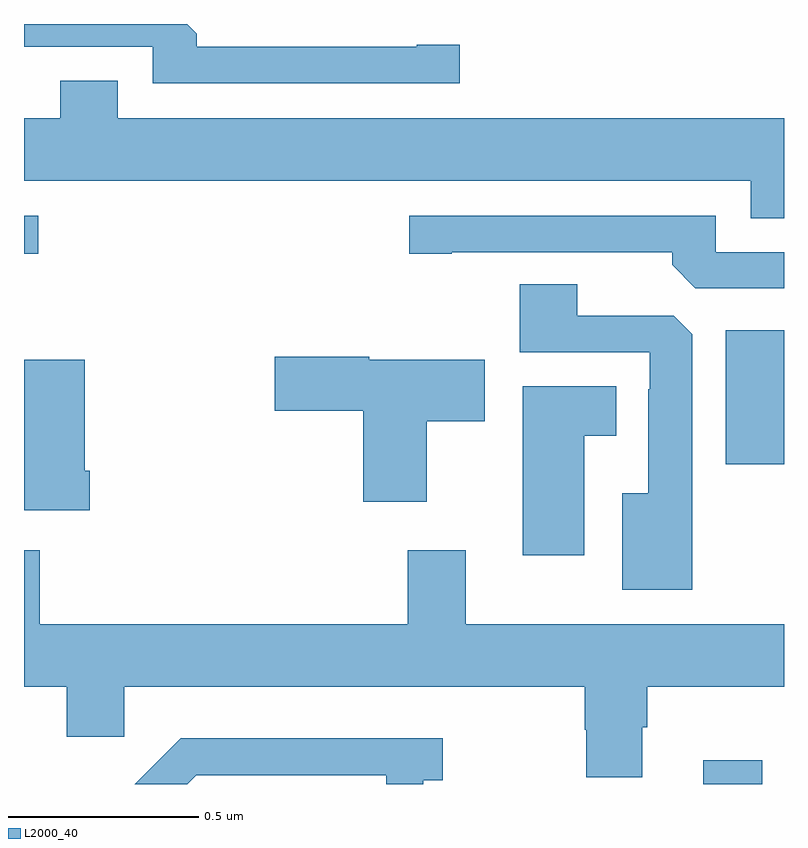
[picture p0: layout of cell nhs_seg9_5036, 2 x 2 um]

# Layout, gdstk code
import gdstk
lib = gdstk.Library(unit=1e-6, precision=1e-09)
def R(c, l, rs):  # rectangles x0, y0, x1, y1
    for r in rs: c.add(gdstk.rectangle(r[:2], r[2:], *l))
def P(c, l, *ps):  # polygons
    for p in ps: c.add(gdstk.Polygon(p, *l))
L2000_40 = (2000, 40)

nhs_seg9_5036 = lib.new_cell('nhs_seg9_5036')
R(nhs_seg9_5036, L2000_40, [(175.787,1193.5,175.943,1193.563), (175.847,1194.341,176,1194.694), (174,1194.895,174.037,1194.996)])
P(nhs_seg9_5036, L2000_40, [(175.147,1195.445),(175.034,1195.445),(175.034,1195.44),(174.455,1195.44),(174.455,1195.474),(174.429,1195.5),(174,1195.5),(174,1195.44),(174.339,1195.44),(174.339,1195.344),(175.147,1195.344)],
  [(176,1195.252),(174.247,1195.252),(174.247,1195.351),(174.095,1195.351),(174.095,1195.252),(174,1195.252),(174,1195.088),(175.913,1195.088),(175.913,1194.989),(176,1194.989)],
  [(176,1194.9),(175.821,1194.9),(175.821,1194.996),(175.014,1194.996),(175.014,1194.895),(175.126,1194.895),(175.126,1194.9),(175.706,1194.9),(175.706,1194.866),(175.767,1194.804),(176,1194.804)],
  [(175.759,1194.683),(175.71,1194.732),(175.456,1194.732),(175.456,1194.815),(175.304,1194.815),(175.304,1194.636),(175.647,1194.636),(175.647,1194.539),(175.643,1194.539),(175.643,1194.265),(175.574,1194.265),(175.574,1194.011),(175.759,1194.011)],
  [(175.06,1194.454),(175.213,1194.454),(175.213,1194.616),(174.909,1194.616),(174.909,1194.624),(174.66,1194.624),(174.66,1194.482),(174.893,1194.482),(174.893,1194.243),(175.06,1194.243)],
  [(174.173,1194.325),(174.16,1194.325),(174.16,1194.616),(174,1194.616),(174,1194.221),(174.173,1194.221)],
  [(175.474,1194.416),(175.558,1194.416),(175.558,1194.547),(175.313,1194.547),(175.313,1194.102),(175.474,1194.102)],
  [(175.627,1193.65),(175.64,1193.65),(175.64,1193.756),(176,1193.756),(176,1193.92),(175.162,1193.92),(175.162,1194.115),(175.01,1194.115),(175.01,1193.92),(174.041,1193.92),(174.041,1194.115),(174,1194.115),(174,1193.756),(174.113,1193.756),(174.113,1193.625),(174.264,1193.625),(174.264,1193.756),(175.475,1193.756),(175.475,1193.643),(175.48,1193.643),(175.48,1193.518),(175.627,1193.518)],
  [(174.453,1193.523),(174.953,1193.523),(174.953,1193.5),(175.05,1193.5),(175.05,1193.51),(175.102,1193.51),(175.102,1193.62),(174.412,1193.62),(174.292,1193.5),(174.43,1193.5)])

lib.write_gds('nhs_seg9_5036.gds')
